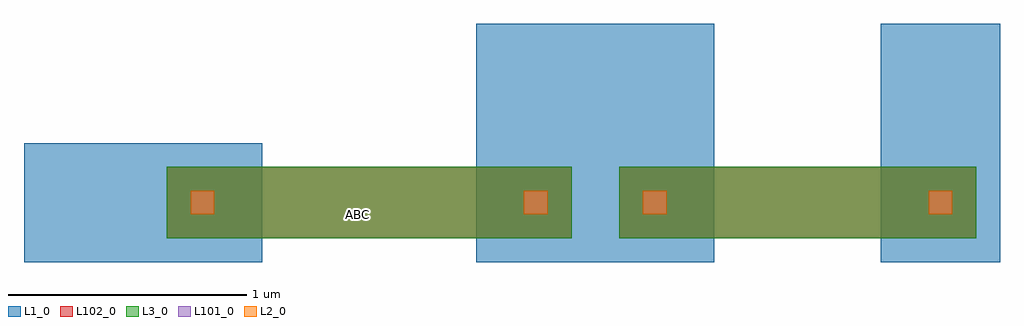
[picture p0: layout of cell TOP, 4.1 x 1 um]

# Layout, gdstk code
import gdstk
lib = gdstk.Library(unit=1e-6, precision=1e-09)
def R(c, l, rs):  # rectangles x0, y0, x1, y1
    for r in rs: c.add(gdstk.rectangle(r[:2], r[2:], *l))
L1_0 = (1, 0)
L2_0 = (2, 0)
L3_0 = (3, 0)
L101_0 = (101, 0)
L102_0 = (102, 0)

d_dev = lib.new_cell('D$DEV')
R(d_dev, L101_0, [(0.2,0.2,0.3,0.3), (0.7,0.2,0.8,0.3)])

net_top__1 = lib.new_cell('NET_TOP_$1')
R(net_top__1, L101_0, [(0.2,0.2,0.3,0.3), (0.7,0.2,0.8,0.3)])
net_top__1.add(gdstk.Reference(d_dev, (0,0)))

net_top_abc = lib.new_cell('NET_TOP_ABC')
R(net_top_abc, L102_0, [(-1.3,0.1,-1,0.4), (-1,0.1,0.4,0.4), (0.1,0.1,0.4,0.4), (-0.501,0.199,-0.499,0.201)])

net_top__4 = lib.new_cell('NET_TOP_$4')
R(net_top__4, L102_0, [(0.6,0.1,0.9,0.4), (0.6,0.1,1.8,0.4), (1.8,0.1,2.1,0.4)])

d_dev_1 = lib.new_cell('D$DEV$1')
R(d_dev_1, L101_0, [(0.2,0.2,0.3,0.3)])

net_top__5 = lib.new_cell('NET_TOP_$5')
R(net_top__5, L101_0, [(1.9,0.2,2,0.3)])
net_top__5.add(gdstk.Reference(d_dev_1, (1.7,0)))

d_dev_2 = lib.new_cell('D$DEV$2')
R(d_dev_2, L101_0, [(0.7,0.2,0.8,0.3)])

net_top__6 = lib.new_cell('NET_TOP_$6')
R(net_top__6, L101_0, [(-1.2,0.2,-1.1,0.3)])
net_top__6.add(gdstk.Reference(d_dev_2, (-1.9,0)))

top = lib.new_cell('TOP')
R(top, L1_0, [(-1.9,0,-0.9,0.5), (0,0,0.5,1), (0.5,0,1,1), (1.7,0,2.2,1)])
R(top, L2_0, [(-1.2,0.2,-1.1,0.3), (0.2,0.2,0.3,0.3), (0.7,0.2,0.8,0.3), (1.9,0.2,2,0.3)])
R(top, L3_0, [(-1.3,0.1,-1,0.4), (-1,0.1,0.4,0.4), (0.1,0.1,0.4,0.4), (0.6,0.1,0.9,0.4), (0.6,0.1,1.8,0.4), (1.8,0.1,2.1,0.4)])
top.add(gdstk.Reference(net_top__1, (0,0)))
top.add(gdstk.Reference(net_top_abc, (0,0)))
top.add(gdstk.Reference(net_top__4, (0,0)))
top.add(gdstk.Reference(net_top__5, (0,0)))
top.add(gdstk.Reference(net_top__6, (0,0)))
top.add(gdstk.Reference(d_dev, (0,0)))
top.add(gdstk.Reference(d_dev_1, (1.7,0)))
top.add(gdstk.Reference(d_dev_2, (-1.9,0)))
top.add(gdstk.Label('ABC', (-0.5,0.2), layer=3, texttype=0))

lib.write_gds('TOP.gds')
